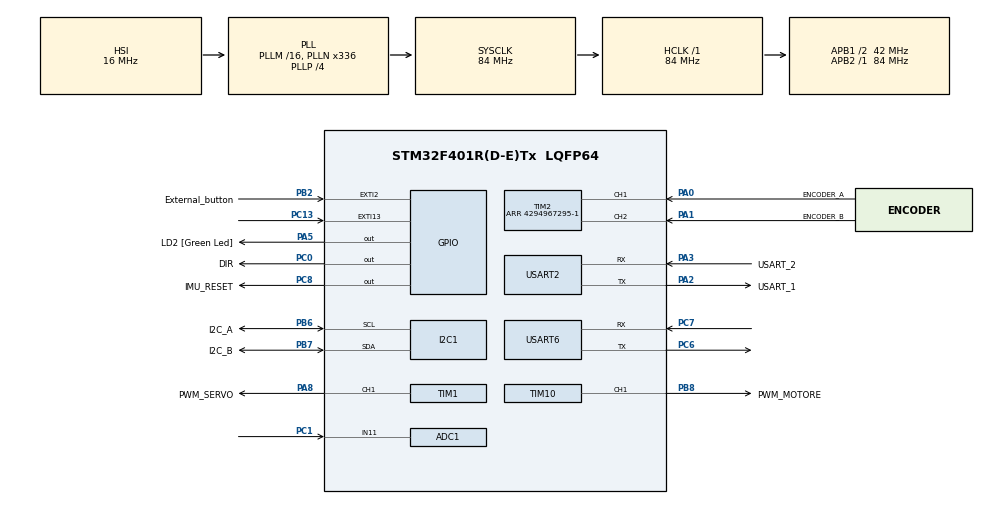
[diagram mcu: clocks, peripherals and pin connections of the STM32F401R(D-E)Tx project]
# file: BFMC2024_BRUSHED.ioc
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ADC1.Channel-0\#ChannelRegularConversion=ADC_CHANNEL_11
ADC1.NbrOfConversionFlag=1
ADC1.Rank-0\#ChannelRegularConversion=1
ADC1.SamplingTime-0\#ChannelRegularConversion=ADC_SAMPLETIME_3CYCLES
ADC1.master=1
Dma.Request0=USART6_RX
Dma.USART6_RX.0.Direction=DMA_PERIPH_TO_MEMORY
Dma.USART6_RX.0.FIFOMode=DMA_FIFOMODE_DISABLE
Dma.USART6_RX.0.Instance=DMA2_Stream1
Dma.USART6_RX.0.MemDataAlignment=DMA_MDATAALIGN_BYTE
Dma.USART6_RX.0.MemInc=DMA_MINC_ENABLE
Dma.USART6_RX.0.Mode=DMA_NORMAL
Dma.USART6_RX.0.PeriphDataAlignment=DMA_PDATAALIGN_BYTE
Dma.USART6_RX.0.PeriphInc=DMA_PINC_DISABLE
Dma.USART6_RX.0.Priority=DMA_PRIORITY_LOW
I2C1.I2C_Mode=I2C_Fast
Mcu.Family=STM32F4
Mcu.Name=STM32F401R(D-E)Tx
Mcu.Package=LQFP64
NVIC.DMA2_Stream1_IRQn=true\:0\:0\:false\:false\:true\:false\:true\:true
NVIC.EXTI15_10_IRQn=true\:0\:0\:false\:false\:true\:true\:true\:true
NVIC.EXTI2_IRQn=true\:0\:0\:false\:false\:true\:true\:true\:true
NVIC.PriorityGroup=NVIC_PRIORITYGROUP_0
NVIC.TIM1_BRK_TIM9_IRQn=true\:0\:0\:false\:false\:true\:true\:true\:true
NVIC.TIM1_TRG_COM_TIM11_IRQn=true\:0\:0\:false\:false\:true\:true\:true\:true
NVIC.USART6_IRQn=true\:0\:0\:false\:false\:true\:true\:true\:true
PA0-WKUP.GPIO_Label=ENCODER_A
PA0-WKUP.Signal=S_TIM2_CH1_ETR
PA1.GPIO_Label=ENCODER_B
PA1.Signal=S_TIM2_CH2
PA13.GPIO_Label=TMS
PA13.Mode=Serial_Wire
PA13.Signal=SYS_JTMS-SWDIO
PA14.GPIO_Label=TCK
PA14.Mode=Serial_Wire
PA14.Signal=SYS_JTCK-SWCLK
PA2.GPIO_Label=USART_1
PA2.Mode=Asynchronous
PA2.Signal=USART2_TX
PA3.GPIO_Label=USART_2
PA3.Mode=Asynchronous
PA3.Signal=USART2_RX
PA5.GPIO_Label=LD2 [Green Led]
PA5.Signal=GPIO_Output
PA8.GPIO_Label=PWM_SERVO
PA8.Signal=S_TIM1_CH1
PB2.GPIO_Label=External_button
PB2.GPIO_ModeDefaultEXTI=GPIO_MODE_IT_RISING_FALLING
PB2.Signal=GPXTI2
PB3.GPIO_Label=SWO
PB3.Signal=SYS_JTDO-SWO
PB6.GPIO_Label=I2C_A
PB6.Mode=I2C
PB6.Signal=I2C1_SCL
PB7.GPIO_Label=I2C_B
PB7.Mode=I2C
PB7.Signal=I2C1_SDA
PB8.GPIO_Label=PWM_MOTORE
PB8.Signal=S_TIM10_CH1
PC0.GPIO_Label=DIR
PC0.Signal=GPIO_Output
PC1.Signal=ADCx_IN11
PC13-ANTI_TAMP.GPIO_ModeDefaultEXTI=GPIO_MODE_IT_FALLING
PC13-ANTI_TAMP.Signal=GPXTI13
PC14-OSC32_IN.Mode=LSE-External-Oscillator
PC14-OSC32_IN.Signal=RCC_OSC32_IN
PC15-OSC32_OUT.Mode=LSE-External-Oscillator
PC15-OSC32_OUT.Signal=RCC_OSC32_OUT
PC6.Mode=Asynchronous
PC6.Signal=USART6_TX
PC7.Mode=Asynchronous
PC7.Signal=USART6_RX
PC8.GPIO_Label=IMU_RESET
PC8.PinState=GPIO_PIN_SET
PC8.Signal=GPIO_Output
PH0\ -\ OSC_IN.Mode=HSE-External-Clock-Source
PH0\ -\ OSC_IN.Signal=RCC_OSC_IN
PH1\ -\ OSC_OUT.Mode=HSE-External-Clock-Source
PH1\ -\ OSC_OUT.Signal=RCC_OSC_OUT
ProjectManager.HeapSize=0x200
ProjectManager.StackSize=0x400
ProjectManager.TargetToolchain=STM32CubeIDE
RCC.48MHZClocksFreq_Value=48000000
RCC.AHBFreq_Value=84000000
RCC.APB1CLKDivider=RCC_HCLK_DIV2
RCC.APB1Freq_Value=42000000
RCC.APB1TimFreq_Value=84000000
RCC.APB2Freq_Value=84000000
RCC.APB2TimFreq_Value=84000000
RCC.CortexFreq_Value=84000000
RCC.HCLKFreq_Value=84000000
RCC.HSE_VALUE=8000000
RCC.HSI_VALUE=16000000
RCC.PLLN=336
RCC.PLLP=RCC_PLLP_DIV4
RCC.PLLQ=7
RCC.SYSCLKFreq_VALUE=84000000
RCC.SYSCLKSource=RCC_SYSCLKSOURCE_PLLCLK
RCC.VCOOutputFreq_Value=336000000
SH.ADCx_IN11.0=ADC1_IN11,IN11
SH.S_TIM10_CH1.0=TIM10_CH1,PWM Generation1 CH1
SH.S_TIM1_CH1.0=TIM1_CH1,PWM Generation1 CH1
SH.S_TIM2_CH1_ETR.0=TIM2_CH1,Encoder_Interface
SH.S_TIM2_CH2.0=TIM2_CH2,Encoder_Interface
TIM1.Channel-PWM\ Generation1\ CH1=TIM_CHANNEL_1
TIM1.Period=1001-1
TIM1.Prescaler=1681-1
TIM1.Pulse-PWM\ Generation1\ CH1=0
TIM10.Channel=TIM_CHANNEL_1
TIM10.Period=1000-1
TIM10.Prescaler=84-1
TIM10.Pulse=0
TIM11.Period=7000-1
TIM11.Prescaler=120-1
TIM2.EncoderMode=TIM_ENCODERMODE_TI12
TIM2.IC1Filter=0
TIM2.Period=4294967295-1
USART2.VirtualMode=VM_ASYNC
USART6.VirtualMode=VM_ASYNC
VP_TIM10_VS_ClockSourceINT.Mode=Enable_Timer
VP_TIM11_VS_ClockSourceINT.Mode=Enable_Timer
VP_TIM1_VS_ClockSourceINT.Mode=Internal
board=NUCLEO-F401RE

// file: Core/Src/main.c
/* USER CODE BEGIN Header */
/**
 ******************************************************************************
 * @file           : main.c
 * @brief          : Main program body
 ******************************************************************************
 * @attention
 *
 * Copyright (c) 2023 STMicroelectronics.
 * All rights reserved.
 *
 * This software is licensed under terms that can be found in the LICENSE file
 * in the root directory of this software component.
 * If no LICENSE file comes with this software, it is provided AS-IS.
 *
 ******************************************************************************
 */
/* USER CODE END Header */
#include "main.h"

/* USER CODE BEGIN Includes */
#include <stdlib.h>
#include <stdbool.h>
#include <string.h>
#include "math.h"

#include "Configuration.h"
#include "bno055_stm32.h"
#include "servo_motor.h"
#include "PID.h"
#include "DC_motor.h"
#include "RX_UART.h"
/* USER CODE END Includes */

/* USER CODE BEGIN PTD */
typedef struct SerialDataRX {
	float curvature_radius_ref_m; // [m]
	float linear_speed_ref_m_s; //[m/s]
	int enable; //Start Flag [bool]
} serialDataRX;

typedef struct SerialDataTX {
	float current_speed_rpm; // [m]
	float current_servo_angle_deg; // [m/s]
	float current_yaw_rate_deg_sec; // [°/s]
	float quaternion_x;
	float quaternion_y;
	float quaternion_z;
	float quaternion_w;
	float magne_x;
	float magne_y;
	float magne_z;
	float accel_x;
	float accel_y;
	float accel_z;
	float angle_x;
	float angle_y;
	float angle_z;
} serialDataTX;

typedef struct VehicleData {
	//Trazione
	int counts;
	int ref_count;
	int delta_count;
	float delta_angle_deg; // [°]
	float motor_speed_deg_sec; // [°/s]
	float motor_speed_RPM; // RPM
	float linear_speed_m_s; //[m/s]
	float motor_speed_ref_RPM; // RPM
	uint8_t motor_direction_ref;

	//Sterzo
	double yaw_rate_rad_sec; // [rad/s]
	double yaw_rate_deg_sec; // [°/s]
	double yaw_rate_ref_rad_sec; //[rad/s]
} vehicleData;
/* USER CODE END PTD */

/* USER CODE BEGIN PD */
#define RxBuf_SIZE 50
#define msg_SIZE 45
/* USER CODE END PD */

ADC_HandleTypeDef hadc1;

I2C_HandleTypeDef hi2c1;

TIM_HandleTypeDef htim1;
TIM_HandleTypeDef htim2;
TIM_HandleTypeDef htim10;
TIM_HandleTypeDef htim11;

UART_HandleTypeDef huart2;
UART_HandleTypeDef huart6;
DMA_HandleTypeDef hdma_usart6_rx;

/* USER CODE BEGIN PV */

serialDataRX dataRX;
serialDataTX dataTX;
vehicleData vehicleState;

//PID
PID pid_traction, pid_traction_RWD, pid_traction_DESC, pid_steering;
double u_trazione = 0;
double u_sterzo = 0;

//Event control
int Flag_10ms = 0;
int HardwareEnable = 0;
int flag_button = 0;

//Filtro per la velocità
#define MAX_RPM_VALUES 10
float tempRPM = 0;
int PtrRPM = 0;
float MeanRPM = 0;
float ArrayRPM[MAX_RPM_VALUES];

//Serial input buffer
uint8_t RxBuf[RxBuf_SIZE];
uint8_t msg[45] = { "\0" };
uint8_t char_in = '\0';
int msg_len = 0;
int MAX_VALUES = 3;
float last_read;
int cnt_DMA;

float RPM_2_m_s = ((2 * M_PI / 60) * WHEEL_RADIUS / MOTOR_REVOLUTION_FOR_ONE_WHEEL_REVOLUTION)*0.787;

/* USER CODE END PV */

void SystemClock_Config(void);
static void MX_GPIO_Init(void);
static void MX_DMA_Init(void);
static void MX_I2C1_Init(void);
static void MX_TIM1_Init(void);
static void MX_TIM10_Init(void);
static void MX_TIM11_Init(void);
static void MX_USART2_UART_Init(void);
static void MX_TIM2_Init(void);
static void MX_USART6_UART_Init(void);
static void MX_ADC1_Init(void);
/* USER CODE BEGIN PFP */
void TransmitTelemetry();
void ProceduraCalibrazione();
void resetBNO055();
/* USER CODE END PFP */

int main(void)
{

  /* MCU Configuration--------------------------------------------------------*/

  /* Reset of all peripherals, Initializes the Flash interface and the Systick. */
  HAL_Init();

  /* Configure the system clock */
  SystemClock_Config();

  /* Initialize all configured peripherals */
  MX_GPIO_Init();
  MX_DMA_Init();
  MX_I2C1_Init();
  MX_TIM1_Init();
  MX_TIM10_Init();
  MX_TIM11_Init();
  MX_USART2_UART_Init();
  MX_TIM2_Init();
  MX_USART6_UART_Init();
  MX_ADC1_Init();
  /* USER CODE BEGIN 2 */

	//RESET BNO055
	resetBNO055();
	printf("BNO055 Resetted!\r\n");

	printf("Starting BNO055!\r\n");
	bno055_assignI2C(&hi2c1);
	bno055_setup();
	bno055_setOperationModeNDOF();
	printf("BNO055 System Status: %i\r\n", bno055_getSystemStatus());
	printf("BNO055 Initialization Completed!\r\n");

	//attivo DMA per ricezione dati seriale
	HAL_UARTEx_ReceiveToIdle_DMA(&huart6, RxBuf, RxBuf_SIZE);
	__HAL_DMA_DISABLE_IT(&hdma_usart6_rx, DMA_IT_HT);
	//PWM Servo
	HAL_TIM_PWM_Start(&htim1, TIM_CHANNEL_1);
	//PWM DC motor
	HAL_TIM_PWM_Start(&htim10, TIM_CHANNEL_1);
	//ENCODER TIMER
	HAL_TIM_Encoder_Start(&htim2, TIM_CHANNEL_ALL);
	//10ms TIMER
	HAL_TIM_Base_Start_IT(&htim11);

	//PID traction
	init_PID(&pid_traction, TRACTION_SAMPLING_TIME, MAX_U_TRACTION, MIN_U_TRACTION, NEUTRAL_PWM);
	tune_PID(&pid_traction, KP_TRACTION, KI_TRACTION, 0, 0);

	//PID steering
	init_PID(&pid_steering, STEERING_SAMPLING_TIME, MAX_U_STEERING, MIN_U_STEERING, 0);
	tune_PID(&pid_steering, KP_STEERING, KI_STEERING, 0, 17 ); //kb = 50

	printf("Initialization Completed!\r\n");

	//Traction Motor Neutral
	set_PWM_and_dir(0, vehicleState.motor_direction_ref);
	//Servo Neutral Position
	servo_motor(0);

  /* USER CODE END 2 */

  /* Infinite loop */
	while (1) {

    /* USER CODE BEGIN 3 */
		//-------------------------------------------------------------
		//Controllo
		if(bno055_getSystemStatus() != 5)
			HAL_NVIC_SystemReset();

		if (HardwareEnable == 1 && dataRX.enable == 1) {
			if (Flag_10ms == 1) {
				Flag_10ms = 0;

				//-------------------------------------------------------------

				//TRACTION control

				//Measure speed with encoder
				vehicleState.ref_count = TIM2->ARR / 2;
				vehicleState.delta_count = vehicleState.counts - vehicleState.ref_count;

				vehicleState.delta_angle_deg = (vehicleState.delta_count * 360) / ((double) (ENCODER_PPR * ENCODER_COUNTING_MODE * GEARBOX_RATIO));
				vehicleState.motor_speed_deg_sec = vehicleState.delta_angle_deg / ENCODER_SAMPLING_TIME;
				tempRPM = DegreeSec2RPM(vehicleState.motor_speed_deg_sec);

				//Filtraggio della velocità
				ArrayRPM[PtrRPM] = tempRPM;
				MeanRPM = 0;
				for(int i = 0; i < MAX_RPM_VALUES; i++){
					MeanRPM += ArrayRPM[i];
				}
				MeanRPM /= MAX_RPM_VALUES;

				if(PtrRPM == MAX_RPM_VALUES-1)
					PtrRPM = 0;
				else
					PtrRPM++;
				vehicleState.motor_speed_RPM = MeanRPM;

				//Speed reference for motor
				vehicleState.motor_speed_ref_RPM = dataRX.linear_speed_ref_m_s / RPM_2_m_s;

				u_trazione = PID_controller(&pid_traction, vehicleState.motor_speed_RPM, vehicleState.motor_speed_ref_RPM);

				//Assegno il duty al motore
				if (vehicleState.motor_speed_ref_RPM == 0)
					set_PWM_and_dir(0, vehicleState.motor_direction_ref);
				else
					set_PWM_and_dir((uint32_t) Voltage2Duty(u_trazione), vehicleState.motor_direction_ref);

				//-------------------------------------------------------------

				//STEERING control

				//Get yawrate from IMU
				bno055_vector_t v = bno055_getVectorGyroscope();
				vehicleState.yaw_rate_deg_sec = v.z;
				vehicleState.yaw_rate_rad_sec = (vehicleState.yaw_rate_deg_sec * M_PI) / 180;
				last_read = dataRX.curvature_radius_ref_m;

				if (dataRX.curvature_radius_ref_m >= MAX_CURVATURE_RADIUS_FOR_STRAIGHT) {

					vehicleState.yaw_rate_ref_rad_sec = 0;

					u_sterzo = PID_controller(&pid_steering, vehicleState.yaw_rate_rad_sec, vehicleState.yaw_rate_ref_rad_sec);

					servo_motor(-u_sterzo); //Minus because yawrate and steering are opposite
				} else {

					vehicleState.linear_speed_m_s = vehicleState.motor_speed_RPM * RPM_2_m_s;
					if (dataRX.curvature_radius_ref_m == 0)
						vehicleState.yaw_rate_ref_rad_sec = 0;
					else
						vehicleState.yaw_rate_ref_rad_sec = vehicleState.linear_speed_m_s / dataRX.curvature_radius_ref_m;

					float yaw_rate_ref_rad_sec_abs = vehicleState.yaw_rate_ref_rad_sec;
					float yaw_rate_rad_sec_abs = vehicleState.yaw_rate_rad_sec;
					if (vehicleState.yaw_rate_ref_rad_sec < 0)
						yaw_rate_ref_rad_sec_abs = -vehicleState.yaw_rate_ref_rad_sec;
					if (vehicleState.yaw_rate_rad_sec < 0)
						yaw_rate_rad_sec_abs = -vehicleState.yaw_rate_rad_sec;

					u_sterzo = PID_controller(&pid_steering, yaw_rate_rad_sec_abs, yaw_rate_ref_rad_sec_abs);

					//Minus because yawrate and steering are opposite
					if (dataRX.curvature_radius_ref_m >= 0 && u_sterzo > 0)
						u_sterzo *= -1.0;
					if (dataRX.curvature_radius_ref_m < 0 && u_sterzo < 0)
						u_sterzo *= -1.0;

					servo_motor(u_sterzo);
				}
				dataTX.current_servo_angle_deg = u_sterzo;
			}
		} else {
			set_PWM_and_dir(0, vehicleState.motor_direction_ref);
			servo_motor(0);

			// Reset dei pid
			resetPID(&pid_steering);
			resetPID(&pid_traction);
			resetPID(&pid_traction_RWD);
			resetPID(&pid_traction_DESC);
		}

		TransmitTelemetry();

	}
  /* USER CODE END 3 */
}

void SystemClock_Config(void)
{
  RCC_OscInitTypeDef RCC_OscInitStruct = {0};
  RCC_ClkInitTypeDef RCC_ClkInitStruct = {0};

  /** Configure the main internal regulator output voltage
  */
  __HAL_RCC_PWR_CLK_ENABLE();
  __HAL_PWR_VOLTAGESCALING_CONFIG(PWR_REGULATOR_VOLTAGE_SCALE2);

  /** Initializes the RCC Oscillators according to the specified parameters
  * in the RCC_OscInitTypeDef structure.
  */
  RCC_OscInitStruct.OscillatorType = RCC_OSCILLATORTYPE_HSI;
  RCC_OscInitStruct.HSIState = RCC_HSI_ON;
  RCC_OscInitStruct.HSICalibrationValue = RCC_HSICALIBRATION_DEFAULT;
  RCC_OscInitStruct.PLL.PLLState = RCC_PLL_ON;
  RCC_OscInitStruct.PLL.PLLSource = RCC_PLLSOURCE_HSI;
  RCC_OscInitStruct.PLL.PLLM = 16;
  RCC_OscInitStruct.PLL.PLLN = 336;
  RCC_OscInitStruct.PLL.PLLP = RCC_PLLP_DIV4;
  RCC_OscInitStruct.PLL.PLLQ = 7;
  if (HAL_RCC_OscConfig(&RCC_OscInitStruct) != HAL_OK)
  {
    Error_Handler();
  }

  /** Initializes the CPU, AHB and APB buses clocks
  */
  RCC_ClkInitStruct.ClockType = RCC_CLOCKTYPE_HCLK|RCC_CLOCKTYPE_SYSCLK
                              |RCC_CLOCKTYPE_PCLK1|RCC_CLOCKTYPE_PCLK2;
  RCC_ClkInitStruct.SYSCLKSource = RCC_SYSCLKSOURCE_PLLCLK;
  RCC_ClkInitStruct.AHBCLKDivider = RCC_SYSCLK_DIV1;
  RCC_ClkInitStruct.APB1CLKDivider = RCC_HCLK_DIV2;
  RCC_ClkInitStruct.APB2CLKDivider = RCC_HCLK_DIV1;

  if (HAL_RCC_ClockConfig(&RCC_ClkInitStruct, FLASH_LATENCY_2) != HAL_OK)
  {
    Error_Handler();
  }
}

static void MX_ADC1_Init(void)
{

  ADC_ChannelConfTypeDef sConfig = {0};

  /** Configure the global features of the ADC (Clock, Resolution, Data Alignment and number of conversion)
  */
  hadc1.Instance = ADC1;
  hadc1.Init.ClockPrescaler = ADC_CLOCK_SYNC_PCLK_DIV4;
  hadc1.Init.Resolution = ADC_RESOLUTION_12B;
  hadc1.Init.ScanConvMode = DISABLE;
  hadc1.Init.ContinuousConvMode = DISABLE;
  hadc1.Init.DiscontinuousConvMode = DISABLE;
  hadc1.Init.ExternalTrigConvEdge = ADC_EXTERNALTRIGCONVEDGE_NONE;
  hadc1.Init.ExternalTrigConv = ADC_SOFTWARE_START;
  hadc1.Init.DataAlign = ADC_DATAALIGN_RIGHT;
  hadc1.Init.NbrOfConversion = 1;
  hadc1.Init.DMAContinuousRequests = DISABLE;
  hadc1.Init.EOCSelection = ADC_EOC_SINGLE_CONV;
  if (HAL_ADC_Init(&hadc1) != HAL_OK)
  {
    Error_Handler();
  }

  /** Configure for the selected ADC regular channel its corresponding rank in the sequencer and its sample time.
  */
  sConfig.Channel = ADC_CHANNEL_11;
  sConfig.Rank = 1;
  sConfig.SamplingTime = ADC_SAMPLETIME_3CYCLES;
  if (HAL_ADC_ConfigChannel(&hadc1, &sConfig) != HAL_OK)
  {
    Error_Handler();
  }

}

static void MX_I2C1_Init(void)
{

  hi2c1.Instance = I2C1;
  hi2c1.Init.ClockSpeed = 400000;
  hi2c1.Init.DutyCycle = I2C_DUTYCYCLE_2;
  hi2c1.Init.OwnAddress1 = 0;
  hi2c1.Init.AddressingMode = I2C_ADDRESSINGMODE_7BIT;
  hi2c1.Init.DualAddressMode = I2C_DUALADDRESS_DISABLE;
  hi2c1.Init.OwnAddress2 = 0;
  hi2c1.Init.GeneralCallMode = I2C_GENERALCALL_DISABLE;
  hi2c1.Init.NoStretchMode = I2C_NOSTRETCH_DISABLE;
  if (HAL_I2C_Init(&hi2c1) != HAL_OK)
  {
    Error_Handler();
  }

}

static void MX_TIM1_Init(void)
{

  TIM_ClockConfigTypeDef sClockSourceConfig = {0};
  TIM_MasterConfigTypeDef sMasterConfig = {0};
  TIM_OC_InitTypeDef sConfigOC = {0};
  TIM_BreakDeadTimeConfigTypeDef sBreakDeadTimeConfig = {0};

  htim1.Instance = TIM1;
  htim1.Init.Prescaler = 1681-1;
  htim1.Init.CounterMode = TIM_COUNTERMODE_UP;
  htim1.Init.Period = 1001-1;
  htim1.Init.ClockDivision = TIM_CLOCKDIVISION_DIV1;
  htim1.Init.RepetitionCounter = 0;
  htim1.Init.AutoReloadPreload = TIM_AUTORELOAD_PRELOAD_DISABLE;
  if (HAL_TIM_Base_Init(&htim1) != HAL_OK)
  {
    Error_Handler();
  }
  sClockSourceConfig.ClockSource = TIM_CLOCKSOURCE_INTERNAL;
  if (HAL_TIM_ConfigClockSource(&htim1, &sClockSourceConfig) != HAL_OK)
  {
    Error_Handler();
  }
  if (HAL_TIM_PWM_Init(&htim1) != HAL_OK)
  {
    Error_Handler();
  }
  sMasterConfig.MasterOutputTrigger = TIM_TRGO_RESET;
  sMasterConfig.MasterSlaveMode = TIM_MASTERSLAVEMODE_DISABLE;
  if (HAL_TIMEx_MasterConfigSynchronization(&htim1, &sMasterConfig) != HAL_OK)
  {
    Error_Handler();
  }
  sConfigOC.OCMode = TIM_OCMODE_PWM1;
  sConfigOC.Pulse = 0;
  sConfigOC.OCPolarity = TIM_OCPOLARITY_HIGH;
  sConfigOC.OCNPolarity = TIM_OCNPOLARITY_HIGH;
  sConfigOC.OCFastMode = TIM_OCFAST_DISABLE;
  sConfigOC.OCIdleState = TIM_OCIDLESTATE_RESET;
  sConfigOC.OCNIdleState = TIM_OCNIDLESTATE_RESET;
  if (HAL_TIM_PWM_ConfigChannel(&htim1, &sConfigOC, TIM_CHANNEL_1) != HAL_OK)
  {
    Error_Handler();
  }
  sBreakDeadTimeConfig.OffStateRunMode = TIM_OSSR_DISABLE;
  sBreakDeadTimeConfig.OffStateIDLEMode = TIM_OSSI_DISABLE;
  sBreakDeadTimeConfig.LockLevel = TIM_LOCKLEVEL_OFF;
  sBreakDeadTimeConfig.DeadTime = 0;
  sBreakDeadTimeConfig.BreakState = TIM_BREAK_DISABLE;
  sBreakDeadTimeConfig.BreakPolarity = TIM_BREAKPOLARITY_HIGH;
  sBreakDeadTimeConfig.AutomaticOutput = TIM_AUTOMATICOUTPUT_DISABLE;
  if (HAL_TIMEx_ConfigBreakDeadTime(&htim1, &sBreakDeadTimeConfig) != HAL_OK)
  {
    Error_Handler();
  }
  HAL_TIM_MspPostInit(&htim1);

}

static void MX_TIM2_Init(void)
{

  TIM_Encoder_InitTypeDef sConfig = {0};
  TIM_MasterConfigTypeDef sMasterConfig = {0};

  htim2.Instance = TIM2;
  htim2.Init.Prescaler = 0;
  htim2.Init.CounterMode = TIM_COUNTERMODE_UP;
  htim2.Init.Period = 4294967295-1;
  htim2.Init.ClockDivision = TIM_CLOCKDIVISION_DIV1;
  htim2.Init.AutoReloadPreload = TIM_AUTORELOAD_PRELOAD_DISABLE;
  sConfig.EncoderMode = TIM_ENCODERMODE_TI12;
  sConfig.IC1Polarity = TIM_ICPOLARITY_RISING;
  sConfig.IC1Selection = TIM_ICSELECTION_DIRECTTI;
  sConfig.IC1Prescaler = TIM_ICPSC_DIV1;
  sConfig.IC1Filter = 0;
  sConfig.IC2Polarity = TIM_ICPOLARITY_RISING;
  sConfig.IC2Selection = TIM_ICSELECTION_DIRECTTI;
  sConfig.IC2Prescaler = TIM_ICPSC_DIV1;
  sConfig.IC2Filter = 0;
  if (HAL_TIM_Encoder_Init(&htim2, &sConfig) != HAL_OK)
  {
    Error_Handler();
  }
  sMasterConfig.MasterOutputTrigger = TIM_TRGO_RESET;
  sMasterConfig.MasterSlaveMode = TIM_MASTERSLAVEMODE_DISABLE;
  if (HAL_TIMEx_MasterConfigSynchronization(&htim2, &sMasterConfig) != HAL_OK)
  {
    Error_Handler();
  }

}

static void MX_TIM10_Init(void)
{

  TIM_OC_InitTypeDef sConfigOC = {0};

  htim10.Instance = TIM10;
  htim10.Init.Prescaler = 84-1;
  htim10.Init.CounterMode = TIM_COUNTERMODE_UP;
  htim10.Init.Period = 1000-1;
  htim10.Init.ClockDivision = TIM_CLOCKDIVISION_DIV1;
  htim10.Init.AutoReloadPreload = TIM_AUTORELOAD_PRELOAD_DISABLE;
  if (HAL_TIM_Base_Init(&htim10) != HAL_OK)
  {
    Error_Handler();
  }
  if (HAL_TIM_PWM_Init(&htim10) != HAL_OK)
  {
    Error_Handler();
  }
  sConfigOC.OCMode = TIM_OCMODE_PWM1;
  sConfigOC.Pulse = 0;
  sConfigOC.OCPolarity = TIM_OCPOLARITY_HIGH;
  sConfigOC.OCFastMode = TIM_OCFAST_DISABLE;
  if (HAL_TIM_PWM_ConfigChannel(&htim10, &sConfigOC, TIM_CHANNEL_1) != HAL_OK)
  {
    Error_Handler();
  }
  HAL_TIM_MspPostInit(&htim10);

}

static void MX_TIM11_Init(void)
{

  htim11.Instance = TIM11;
  htim11.Init.Prescaler = 120-1;
  htim11.Init.CounterMode = TIM_COUNTERMODE_UP;
  htim11.Init.Period = 7000-1;
  htim11.Init.ClockDivision = TIM_CLOCKDIVISION_DIV1;
  htim11.Init.AutoReloadPreload = TIM_AUTORELOAD_PRELOAD_DISABLE;
  if (HAL_TIM_Base_Init(&htim11) != HAL_OK)
  {
    Error_Handler();
  }

}

static void MX_USART2_UART_Init(void)
{

  huart2.Instance = USART2;
  huart2.Init.BaudRate = 115200;
  huart2.Init.WordLength = UART_WORDLENGTH_8B;
  huart2.Init.StopBits = UART_STOPBITS_1;
  huart2.Init.Parity = UART_PARITY_NONE;
  huart2.Init.Mode = UART_MODE_TX_RX;
  huart2.Init.HwFlowCtl = UART_HWCONTROL_NONE;
  huart2.Init.OverSampling = UART_OVERSAMPLING_16;
  if (HAL_UART_Init(&huart2) != HAL_OK)
  {
    Error_Handler();
  }

}

static void MX_USART6_UART_Init(void)
{

  huart6.Instance = USART6;
  huart6.Init.BaudRate = 115200;
  huart6.Init.WordLength = UART_WORDLENGTH_8B;
  huart6.Init.StopBits = UART_STOPBITS_1;
  huart6.Init.Parity = UART_PARITY_NONE;
  huart6.Init.Mode = UART_MODE_TX_RX;
  huart6.Init.HwFlowCtl = UART_HWCONTROL_NONE;
  huart6.Init.OverSampling = UART_OVERSAMPLING_16;
  if (HAL_UART_Init(&huart6) != HAL_OK)
  {
    Error_Handler();
  }

}

static void MX_DMA_Init(void)
{

  /* DMA controller clock enable */
  __HAL_RCC_DMA2_CLK_ENABLE();

  /* DMA interrupt init */
  /* DMA2_Stream1_IRQn interrupt configuration */
  HAL_NVIC_SetPriority(DMA2_Stream1_IRQn, 0, 0);
  HAL_NVIC_EnableIRQ(DMA2_Stream1_IRQn);

}

static void MX_GPIO_Init(void)
{
  GPIO_InitTypeDef GPIO_InitStruct = {0};

  /* GPIO Ports Clock Enable */
  __HAL_RCC_GPIOC_CLK_ENABLE();
  __HAL_RCC_GPIOH_CLK_ENABLE();
  __HAL_RCC_GPIOA_CLK_ENABLE();
  __HAL_RCC_GPIOB_CLK_ENABLE();

  /*Configure GPIO pin Output Level */
  HAL_GPIO_WritePin(DIR_GPIO_Port, DIR_Pin, GPIO_PIN_RESET);

  /*Configure GPIO pin Output Level */
  HAL_GPIO_WritePin(LD2_GPIO_Port, LD2_Pin, GPIO_PIN_RESET);

  /*Configure GPIO pin Output Level */
  HAL_GPIO_WritePin(IMU_RESET_GPIO_Port, IMU_RESET_Pin, GPIO_PIN_SET);

  /*Configure GPIO pin : PC13 */
  GPIO_InitStruct.Pin = GPIO_PIN_13;
  GPIO_InitStruct.Mode = GPIO_MODE_IT_FALLING;
  GPIO_InitStruct.Pull = GPIO_NOPULL;
  HAL_GPIO_Init(GPIOC, &GPIO_InitStruct);

  /*Configure GPIO pins : DIR_Pin IMU_RESET_Pin */
  GPIO_InitStruct.Pin = DIR_Pin|IMU_RESET_Pin;
  GPIO_InitStruct.Mode = GPIO_MODE_OUTPUT_PP;
  GPIO_InitStruct.Pull = GPIO_NOPULL;
  GPIO_InitStruct.Speed = GPIO_SPEED_FREQ_LOW;
  HAL_GPIO_Init(GPIOC, &GPIO_InitStruct);

  /*Configure GPIO pin : LD2_Pin */
  GPIO_InitStruct.Pin = LD2_Pin;
  GPIO_InitStruct.Mode = GPIO_MODE_OUTPUT_PP;
  GPIO_InitStruct.Pull = GPIO_NOPULL;
  GPIO_InitStruct.Speed = GPIO_SPEED_FREQ_LOW;
  HAL_GPIO_Init(LD2_GPIO_Port, &GPIO_InitStruct);

  /*Configure GPIO pin : External_button_Pin */
  GPIO_InitStruct.Pin = External_button_Pin;
  GPIO_InitStruct.Mode = GPIO_MODE_IT_RISING_FALLING;
  GPIO_InitStruct.Pull = GPIO_NOPULL;
  HAL_GPIO_Init(External_button_GPIO_Port, &GPIO_InitStruct);

  /* EXTI interrupt init*/
  HAL_NVIC_SetPriority(EXTI2_IRQn, 0, 0);
  HAL_NVIC_EnableIRQ(EXTI2_IRQn);

  HAL_NVIC_SetPriority(EXTI15_10_IRQn, 0, 0);
  HAL_NVIC_EnableIRQ(EXTI15_10_IRQn);

}

/* USER CODE BEGIN 4 */
//Timer11 for temporization
void HAL_TIM_PeriodElapsedCallback(TIM_HandleTypeDef *htim) {
	if (htim == &htim11) {
		Flag_10ms = 1;

		if (dataRX.curvature_radius_ref_m == last_read){
			cnt_DMA++;
			if(cnt_DMA >= 5){
				HAL_UARTEx_ReceiveToIdle_DMA(&huart6, RxBuf, RxBuf_SIZE);
				cnt_DMA = 0;
			}
		}

		//Encoder
		vehicleState.counts = TIM2->CNT;
		TIM2->CNT = TIM2->ARR / 2;
	}
}

//USART2 -> ST_Link UART for DEBUG with USB (e.g. PUTTY)
int __io_putchar(int ch) {
	HAL_UART_Transmit(&huart2, (uint8_t*) &ch, 1, 0xFFFF); //putty
	HAL_UART_Transmit(&huart6, (uint8_t*) &ch, 1, 0xFFFF); //rpi
	return ch;
}

//-------------------------------------------------------------
//BLUE user button
void HAL_GPIO_EXTI_Callback(uint16_t GPIO_Pin) {
	if (GPIO_Pin == GPIO_PIN_13) {
		if (HardwareEnable == 0) {
			HardwareEnable = 1;
			HAL_GPIO_WritePin(LD2_GPIO_Port, LD2_Pin, GPIO_PIN_SET);
		} else {
			HardwareEnable = 0;
			HAL_GPIO_WritePin(LD2_GPIO_Port, LD2_Pin, GPIO_PIN_RESET);
		}
	}
}

//-------------------------------------------------------------
// COMUNICAZIONE (RICEZIONE DATI)
void HAL_UARTEx_RxEventCallback(UART_HandleTypeDef *huart, uint16_t Size){
	if (huart->Instance == USART6){
		memcpy(msg, RxBuf, Size);
		float floatArray[MAX_VALUES];
		parseCSV(msg, floatArray);

		if(floatArray[0] == 0 || floatArray[0] == 1){
			dataRX.enable = floatArray[0];
			dataRX.linear_speed_ref_m_s = floatArray[1];
			dataRX.curvature_radius_ref_m = floatArray[2];
		}

		if(floatArray[0] == 3){
			// Reset dei pid
			resetPID(&pid_steering);
			resetPID(&pid_traction);
			resetPID(&pid_traction_RWD);
			resetPID(&pid_traction_DESC);
			//printf("PID RESETTATO! (TASTO)\r\n");
		}

		HAL_UARTEx_ReceiveToIdle_DMA(&huart6, RxBuf, RxBuf_SIZE);
	}
}

// COMUNICAZIONE (TRASMISSIONE DATI)
void TransmitTelemetry(){
	dataTX.current_speed_rpm = vehicleState.motor_speed_RPM;
	dataTX.current_yaw_rate_deg_sec = vehicleState.yaw_rate_deg_sec;

	bno055_vector_t accel = bno055_getVectorAccelerometer();
	bno055_vector_t angle = bno055_getVectorGyroscope();
	bno055_vector_t magne = bno055_getVectorMagnetometer();
	bno055_vector_t quat = bno055_getVectorQuaternion();
	bno055_calibration_state_t cal = bno055_getCalibrationState();
	dataTX.accel_x = accel.x;
	dataTX.accel_y = accel.y;
	dataTX.accel_z = accel.z;
	dataTX.angle_x = angle.x;
	dataTX.angle_y = angle.y;
	dataTX.angle_z = angle.z;
	dataTX.magne_x = magne.x;
	dataTX.magne_y = magne.y;
	dataTX.magne_z = magne.z;
	dataTX.quaternion_x = quat.x;
	dataTX.quaternion_y = quat.y;
	dataTX.quaternion_z = quat.z;
	dataTX.quaternion_w = quat.w;
	//printf("%i, %.2f, %.2f\r\n", dataRX.enable, dataRX.linear_speed_ref_m_s, dataRX.curvature_radius_ref_m);
	printf("%+2.4f, %+2.4f, %+2.4f, %+2.4f, %+2.4f, %+2.4f, %+2.4f, %+2.4f, %+2.4f, %+2.4f, %i \r\n", accel.x, accel.y, accel.z, angle.x, angle.y, angle.z, magne.x, magne.y, magne.z, tempRPM * RPM_2_m_s, cal.mag);
	//printf("%+2.4f, %+2.4f, %+2.4f, %+2.4f, %+2.4f, %+2.4f, %+2.4f, %+2.4f, %+2.4f, %+2.4f\r\n", accel.x, accel.y, accel.z, angle.x, angle.y, angle.z, quat.x, quat.y, quat.z, quat.w);
	//printf("%+2.4f, %+2.4f, %+2.4f, %+2.4f, %+2.4f, %+2.4f, %+2.4f, %+2.4f, %+2.4f, %+2.4f\r\n", accel.x, accel.y, accel.z, angle.x, angle.y, angle.z, quat.x, quat.y, quat.z, quat.w);
	//printf("X: %+2.4f, y: %+2.4f, z: %+2.4f", magne.x, magne.y, magne.z);
	//printf("%+2.4f,%+2.4f,%+2.4f,%i,%i\r\n", magne.x, magne.y, magne.z, cal.mag, cal.sys);

}

void resetBNO055(){
	HAL_GPIO_WritePin(IMU_RESET_GPIO_Port, IMU_RESET_Pin, GPIO_PIN_RESET);
	HAL_Delay(800);
	HAL_GPIO_WritePin(IMU_RESET_GPIO_Port, IMU_RESET_Pin, GPIO_PIN_SET);
	HAL_Delay(800);
}

/* USER CODE END 4 */

void Error_Handler(void)
{
	__disable_irq();
	while (1) {
	}
}
